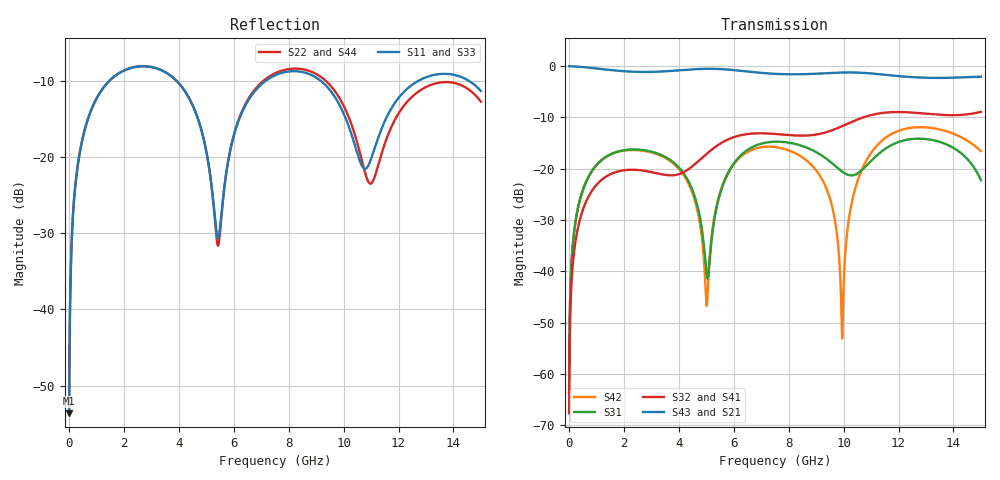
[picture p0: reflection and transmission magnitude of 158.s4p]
! Created with skrf 1.8.0 (http://scikit-rf.org).
# GHz S RI R 50.0
!freq ReS11 ImS11 ReS12 ImS12 ReS13 ImS13
! ReS14 ImS14
! ReS21 ImS21 ReS22 ImS22 ReS23 ImS23
! ReS24 ImS24
! ReS31 ImS31 ReS32 ImS32 ReS33 ImS33
! ReS34 ImS34
! ReS41 ImS41 ReS42 ImS42 ReS43 ImS43
! ReS44 ImS44
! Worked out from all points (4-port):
!   2499 points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, 5 MHz to 15 GHz, reference 50 ohm
!   strongest paths, dB at 5 MHz, 3.476 GHz, 7.19 GHz, 11.1 GHz, 15 GHz:
!     S43: 0.0, -1.0, -1.4, -1.5, -2.1
!     S21: 0.0, -1.0, -1.4, -1.5, -2.1
!     S32: -67.7, -21.2, -13.1, -9.4, -8.9
!     S41: -67.7, -21.2, -13.1, -9.4, -8.9
!     S31: -63.8, -17.6, -14.9, -18.0, -22.2
!     S42: -63.8, -17.8, -15.7, -16.2, -16.6
!   lowest |S11| = -53.6 dB at 5 MHz (marker M1), VSWR 1.00, Z = 50.2 + j0.126 ohm
!   |S11| at or under -10 dB: start of sweep to 1.469 GHz; 3.916 GHz to 7.158 GHz (3.241 GHz wide, 58.5 % of centre); 9.172 GHz to 12.72 GHz (3.547 GHz wide, 32.4 % of centre) (the widest 3 of 4)
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0.005  0.00165 0.00126  0.9983 -0.00322  8.27e-05 0.000642  -8.04e-05 -0.000405
       0.9983 -0.00322  0.00165 0.00126  -8.04e-05 -0.000405  8.26e-05 0.000642
       8.27e-05 0.000642  -8.04e-05 -0.000405  0.00165 0.00126  0.9983 -0.00322
       -8.04e-05 -0.000405  8.26e-05 0.000642  0.9983 -0.00322  0.00165 0.00126
1.569404  0.2768 0.1774  0.5352 -0.7382  0.1288 0.0558  -0.0897 -0.00404
          0.5352 -0.7382  0.2778 0.1767  -0.0898 -0.00398  0.1259 0.0599
          0.1288 0.0558  -0.0898 -0.00398  0.2767 0.1774  0.5352 -0.7382
          -0.0897 -0.00404  0.1259 0.0599  0.5352 -0.7382  0.2778 0.1766
5.008337  0.0516 -0.094  -0.8928 -0.2984  -0.0084 -0.00463  -0.0403 0.1334
          -0.8928 -0.2984  0.0484 -0.096  -0.0393 0.1337  -0.00441 -0.00156
          -0.0084 -0.00463  -0.0393 0.1337  0.0523 -0.0926  -0.893 -0.2983
          -0.0403 0.1334  -0.00441 -0.00156  -0.893 -0.2983  0.0469 -0.0952
8.409754  0.3629 -0.0265  0.00837 0.8323  0.1215 -0.1179  0.2016 -0.058
          0.00837 0.8323  0.3772 -0.0412  0.2013 -0.0599  0.122 -0.0543
          0.1215 -0.1179  0.2013 -0.0599  0.363 -0.0276  0.00734 0.8322
          0.2016 -0.058  0.122 -0.0543  0.00734 0.8322  0.3779 -0.0389
9.947895  0.1572 -0.1284  0.6596 0.5603  -0.0687 -0.0638  0.1643 -0.2014
          0.6596 0.5603  0.1582 -0.163  0.162 -0.2032  -0.00215 -0.000497
          -0.0687 -0.0638  0.162 -0.2032  0.1566 -0.1286  0.6587 0.5616
          0.1643 -0.2014  -0.00215 -0.000497  0.6587 0.5616  0.1592 -0.1616
11.21717  0.1076 0.0673  0.8364 -0.05  -0.00314 0.135  -0.0372 -0.3407
          0.8364 -0.05  0.0775 0.0296  -0.0411 -0.3403  0.0929 0.1404
          -0.00314 0.135  -0.0411 -0.3403  0.1073 0.0674  0.8366 -0.0479
          -0.0372 -0.3407  0.0929 0.1404  0.8366 -0.0479  0.078 0.0311
15  0.2279 -0.1477  -0.4023 -0.678  0.0281 -0.072  -0.2939 0.2029
    -0.4023 -0.678  0.2022 -0.112  -0.2902 0.2088  -0.0112 -0.1482
    0.0281 -0.072  -0.2902 0.2088  0.2292 -0.1454  -0.3979 -0.6808
    -0.2939 0.2029  -0.0112 -0.1482  -0.3979 -0.6808  0.2027 -0.1124
